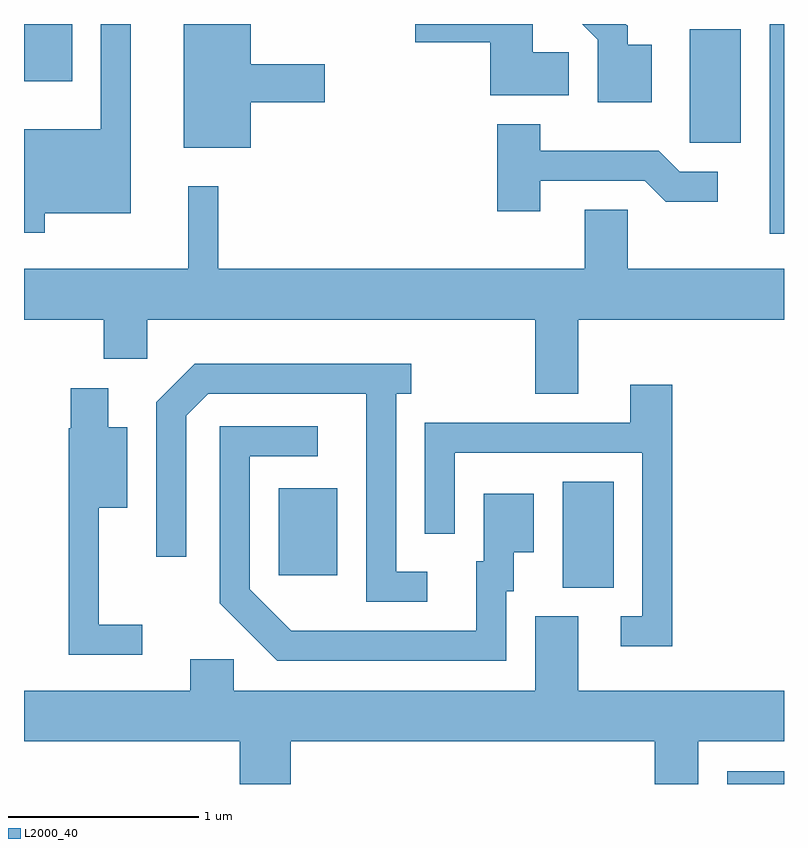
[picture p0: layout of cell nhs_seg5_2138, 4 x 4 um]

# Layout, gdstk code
import gdstk
lib = gdstk.Library(unit=1e-6, precision=1e-09)
def R(c, l, rs):  # rectangles x0, y0, x1, y1
    for r in rs: c.add(gdstk.rectangle(r[:2], r[2:], *l))
def P(c, l, *ps):  # polygons
    for p in ps: c.add(gdstk.Polygon(p, *l))
L2000_40 = (2000, 40)

nhs_seg5_2138 = lib.new_cell('nhs_seg5_2138')
R(nhs_seg5_2138, L2000_40, [(251.311,1512.072,251.611,1512.139), (250.446,1513.106,250.714,1513.664), (248.951,1513.171,249.259,1513.629), (251.536,1514.968,251.611,1516.072), (251.116,1515.446,251.384,1516.044), (247.611,1515.771,247.864,1516.072)])
P(nhs_seg5_2138, L2000_40, [(247.719,1515.076),(248.174,1515.076),(248.174,1516.072),(248.016,1516.072),(248.016,1515.519),(247.611,1515.519),(247.611,1514.973),(247.719,1514.973)],
  [(250.914,1515.964),(250.789,1515.964),(250.789,1516.062),(250.779,1516.072),(250.548,1516.072),(250.631,1515.989),(250.631,1515.661),(250.914,1515.661)],
  [(248.804,1515.661),(249.194,1515.661),(249.194,1515.859),(248.804,1515.859),(248.804,1516.072),(248.451,1516.072),(248.451,1515.421),(248.804,1515.421)],
  [(250.479,1515.924),(250.289,1515.924),(250.289,1516.072),(249.671,1516.072),(249.671,1515.976),(250.066,1515.976),(250.066,1515.696),(250.479,1515.696)],
  [(250.329,1515.246),(250.879,1515.246),(250.989,1515.136),(251.263,1515.136),(251.263,1515.294),(251.062,1515.294),(250.952,1515.404),(250.329,1515.404),(250.329,1515.544),(250.101,1515.544),(250.101,1515.086),(250.329,1515.086)],
  [(250.529,1514.516),(251.611,1514.516),(251.611,1514.784),(250.789,1514.784),(250.789,1515.094),(250.561,1515.094),(250.561,1514.784),(248.634,1514.784),(248.634,1515.218),(248.476,1515.218),(248.476,1514.784),(247.611,1514.784),(247.611,1514.516),(248.031,1514.516),(248.031,1514.311),(248.259,1514.311),(248.259,1514.516),(250.301,1514.516),(250.301,1514.126),(250.529,1514.126)],
  [(249.733,1513.189),(249.569,1513.189),(249.569,1514.126),(249.648,1514.126),(249.648,1514.284),(248.509,1514.284),(248.306,1514.082),(248.306,1513.268),(248.464,1513.268),(248.464,1514.009),(248.582,1514.126),(249.411,1514.126),(249.411,1513.031),(249.733,1513.031)],
  [(251.024,1514.174),(250.801,1514.174),(250.801,1513.974),(249.721,1513.974),(249.721,1513.388),(249.879,1513.388),(249.879,1513.816),(250.866,1513.816),(250.866,1512.954),(250.753,1512.954),(250.753,1512.796),(251.024,1512.796)],
  [(248.233,1512.909),(248.004,1512.909),(248.004,1513.526),(248.154,1513.526),(248.154,1513.949),(248.054,1513.949),(248.054,1514.154),(247.856,1514.154),(247.856,1513.945),(247.846,1513.945),(247.846,1512.751),(248.233,1512.751)],
  [(250.149,1513.086),(250.189,1513.086),(250.189,1513.291),(250.294,1513.291),(250.294,1513.599),(250.031,1513.599),(250.031,1513.244),(249.991,1513.244),(249.991,1512.879),(249.017,1512.879),(248.799,1513.097),(248.799,1513.796),(249.158,1513.796),(249.158,1513.954),(248.641,1513.954),(248.641,1513.024),(248.944,1512.721),(250.149,1512.721)],
  [(249.014,1512.296),(250.931,1512.296),(250.931,1512.072),(251.159,1512.072),(251.159,1512.296),(251.611,1512.296),(251.611,1512.564),(250.529,1512.564),(250.529,1512.954),(250.301,1512.954),(250.301,1512.564),(248.714,1512.564),(248.714,1512.729),(248.486,1512.729),(248.486,1512.564),(247.611,1512.564),(247.611,1512.296),(248.746,1512.296),(248.746,1512.072),(249.014,1512.072)])

lib.write_gds('nhs_seg5_2138.gds')
